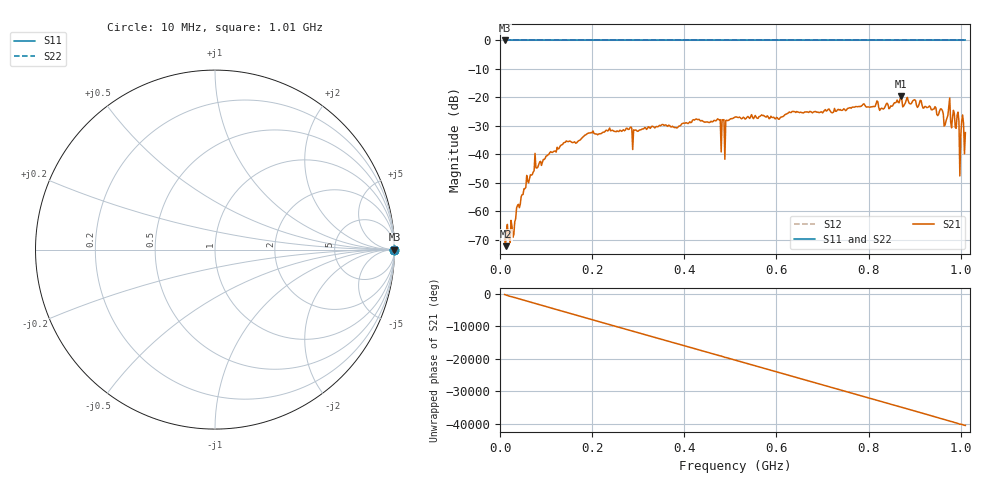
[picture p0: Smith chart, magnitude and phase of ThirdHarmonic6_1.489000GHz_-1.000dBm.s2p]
! 8/16/2025 5:26:37 PM
! C:\ANRITSUVNA\TEMP\TEMP.S2P
! CHANNEL.1
! TR.MEASUREMENT
! RAW.DATA
! RF.CORRECTION.OFF
! AVERAGING.OFF
! IF.BANDWIDTH: 5KHZ
! SWEEPTYPE:  FREQ.SWEEP(Linear)
! Reference Plane Port Info
! PORT:  PORT1  PORT2
! DISTANCE:  0  m  0  m
! TIME:  0  s  0  s
! PHASE.OFFSET:  0  deg.  0  deg.
! LOSS:  0  dB  0  dB
! REF.LOSS:  0  dB  0  dB
! REF.FREQ:  0  Hz  0  Hz
! Power Info
! POWER:  -20  dBm  -20  dBm
! EFF.POWER:  -20  dBm  -20  dBm
! SOURCE.ATTEN:  0  dB  0  dB
! TEST.ATTEN:  0  dB  0  dB
# GHZ S RI R 50.0
! FREQ.GHZ  S11RE  S11IM  S21RE  S21IM  S12RE  S12IM  S22RE  S22IM
!; PortSelection: Port_12
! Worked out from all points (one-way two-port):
!   501 points, 10 MHz to 1.01 GHz, reference 50 ohm
!   highest |S21| = -19.59 dB at 870 MHz (marker M1); lowest = -72.2 dB at 12 MHz (marker M2)
!   lowest |S11| = 0.0 dB at 10 MHz (marker M3)
!   |S11| at or under -10 dB: nowhere
!   |S22| runs from 0.0 to 0.0 dB; largest |S21 - S12| = 1.1
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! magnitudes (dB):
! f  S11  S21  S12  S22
! 10 MHz  0.0  -69.6  0.0  0.0
! 12 MHz  0.0  -72.2  0.0  0.0
! 26 MHz  0.0  -65.2  0.0  0.0
! 56 MHz  0.0  -51.6  0.0  0.0
! 76 MHz  0.0  -39.6  0.0  0.0
! 142 MHz  0.0  -35.7  0.0  0.0
! 178 MHz  0.0  -34.2  0.0  0.0
! 344 MHz  0.0  -30.1  0.0  0.0
! 474 MHz  0.0  -27.7  0.0  0.0
! 484 MHz  0.0  -27.9  0.0  0.0
! 492 MHz  0.0  -28.0  0.0  0.0
! 494 MHz  0.0  -28.1  0.0  0.0
! 510 MHz  0.0  -26.9  0.0  0.0
! 678 MHz  0.0  -25.4  0.0  0.0
! 844 MHz  0.0  -24.0  0.0  0.0
! 870 MHz  0.0  -19.6  0.0  0.0
! 958 MHz  0.0  -24.0  0.0  0.0
! 968 MHz  0.0  -28.2  0.0  0.0
! 974 MHz  0.0  -23.2  0.0  0.0
! 992 MHz  0.0  -26.3  0.0  0.0
! 996 MHz  0.0  -28.3  0.0  0.0
! 1.01 GHz  0.0  -32.3  0.0  0.0
